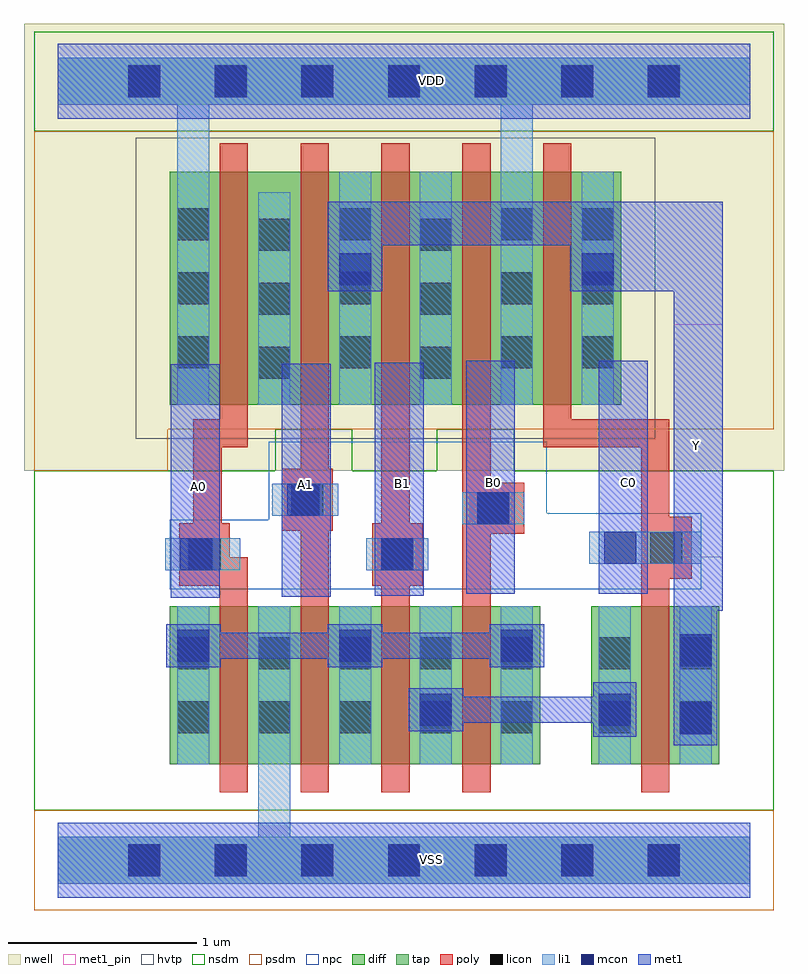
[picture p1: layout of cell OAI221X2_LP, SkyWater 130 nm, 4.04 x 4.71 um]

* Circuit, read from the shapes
.subckt OAI221X2_LP A0 A1 B0 B1 C0 VDD VSS Y
XM1 VSS A0 n1 VSS sky130_fd_pr__nfet_01v8 w=0.84 l=0.15
XM2 n1 A1 VSS VSS sky130_fd_pr__nfet_01v8 w=0.84 l=0.15
XM3 n2 B1 n1 VSS sky130_fd_pr__nfet_01v8 w=0.84 l=0.15
XM4 n1 B0 n2 VSS sky130_fd_pr__nfet_01v8 w=0.84 l=0.15
XM5 Y C0 n2 VSS sky130_fd_pr__nfet_01v8 w=0.84 l=0.15
XM6 n3 A0 VDD VDD sky130_fd_pr__pfet_01v8_hvt w=1.24 l=0.15
XM7 Y A1 n3 VDD sky130_fd_pr__pfet_01v8_hvt w=1.24 l=0.15
XM8 n4 B1 Y VDD sky130_fd_pr__pfet_01v8_hvt w=1.24 l=0.15
XM9 VDD B0 n4 VDD sky130_fd_pr__pfet_01v8_hvt w=1.24 l=0.15
XM10 Y C0 VDD VDD sky130_fd_pr__pfet_01v8_hvt w=1.24 l=0.15
.ends

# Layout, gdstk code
from math import pi, radians
import gdstk
lib = gdstk.Library(unit=1e-6, precision=1e-09)
def R(c, l, rs):  # rectangles x0, y0, x1, y1
    for r in rs: c.add(gdstk.rectangle(r[:2], r[2:], *l))
def A(c, l, x, y, w, h, nx, ny, dx, dy):  # array of equal rectangles
    R(c, l, [(x+i*dx, y+j*dy, x+i*dx+w, y+j*dy+h) for i in range(nx) for j in range(ny)])
def P(c, l, *ps):  # polygons
    for p in ps: c.add(gdstk.Polygon(p, *l))
nwell = (64, 20)
diff = (65, 20)
tap = (65, 44)
poly = (66, 20)
licon = (66, 44)
li1 = (67, 20)
mcon = (67, 44)
met1_pin = (68, 16)
met1 = (68, 20)
hvtp = (78, 44)
nsdm = (93, 44)
psdm = (94, 20)
npc = (95, 20)

l1m1_c_cdns_752016907001 = lib.new_cell('L1M1_C_CDNS_752016907001')
R(l1m1_c_cdns_752016907001, li1, [(-0.085,-0.165,0.085,0.165)])
R(l1m1_c_cdns_752016907001, mcon, [(-0.085,-0.085,0.085,0.085)])
R(l1m1_c_cdns_752016907001, met1, [(-0.115,-0.145,0.115,0.145)])

l1m1_c_cdns_752016907003 = lib.new_cell('L1M1_C_CDNS_752016907003')
R(l1m1_c_cdns_752016907003, li1, [(-0.165,-0.085,0.165,0.085)])
R(l1m1_c_cdns_752016907003, mcon, [(-0.085,-0.085,0.085,0.085)])
R(l1m1_c_cdns_752016907003, met1, [(-0.115,-0.145,0.115,0.145)])

licondiff_c_cdns_7520169 = lib.new_cell('LICONDIFF_C_CDNS_752016907004')
R(licondiff_c_cdns_7520169, diff, [(-0.125,-0.145,0.125,0.145)])
R(licondiff_c_cdns_7520169, licon, [(-0.085,-0.085,0.085,0.085), (-0.085,-0.085,0.085,0.085)])

pyl1con_c_cdns_752016907 = lib.new_cell('PYL1CON_C_CDNS_752016907000')
R(pyl1con_c_cdns_752016907, poly, [(-0.135,-0.165,0.135,0.165)])
R(pyl1con_c_cdns_752016907, licon, [(-0.085,-0.085,0.085,0.085)])
R(pyl1con_c_cdns_752016907, npc, [(-0.185,-0.185,0.185,0.185)])

l1m1_c_cdns_752016907002 = lib.new_cell('L1M1_C_CDNS_752016907002')
R(l1m1_c_cdns_752016907002, li1, [(-0.085,-0.345,0.085,0.345)])
R(l1m1_c_cdns_752016907002, mcon, [(-0.085,-0.265,0.085,-0.095), (-0.085,0.095,0.085,0.265)])
R(l1m1_c_cdns_752016907002, met1, [(-0.115,-0.325,0.115,0.325)])

oai221x2_lp = lib.new_cell('OAI221X2_LP')
R(oai221x2_lp, nwell, [(-0.18,2.07,3.86,4.445)])
R(oai221x2_lp, diff, [(0.595,0.51,2.565,1.35), (2.835,0.51,3.515,1.35), (0.595,2.42,2.995,3.66)])
A(oai221x2_lp, poly, 1.29, 0.36, 0.15, 3.45, 3, 1, 0.43, 0)
P(oai221x2_lp, poly, [(1.01,1.61),(0.87,1.61),(0.87,2.195),(1.01,2.195),(1.01,3.81),(0.86,3.81),(0.86,2.345),(0.72,2.345),(0.72,1.61),(0.7,1.61),(0.7,1.46),(0.86,1.46),(0.86,0.36),(1.01,0.36)],
  [(3.25,2.345),(2.73,2.345),(2.73,3.81),(2.58,3.81),(2.58,2.195),(3.1,2.195),(3.1,0.36),(3.25,0.36)])
A(oai221x2_lp, licon, 0.375, -0.085, 0.17, 0.17, 7, 2, 0.46, 4.14)
A(oai221x2_lp, licon, 0.635, 0.675, 0.17, 0.17, 5, 2, 0.43, 0.34)
A(oai221x2_lp, licon, 0.635, 2.615, 0.17, 0.17, 3, 3, 0.86, 0.34)
A(oai221x2_lp, licon, 2.785, 2.615, 0.17, 0.17, 1, 3, 0, 0.34)
R(oai221x2_lp, licon, [(2.875,0.675,3.045,0.845), (3.305,0.675,3.475,0.845), (2.875,1.015,3.045,1.185), (3.305,1.015,3.475,1.185)])
A(oai221x2_lp, li1, 1.495, 0.51, 0.17, 0.84, 3, 1, 0.43, 0)
R(oai221x2_lp, li1, [(0.635,0.51,0.805,1.35), (2.875,0.51,3.045,1.35), (3.305,0.51,3.475,1.35), (1.495,2.42,1.665,3.66), (2.785,2.42,2.955,3.66)])
P(oai221x2_lp, li1, [(3.68,4.265),(0,4.265),(0,4.015),(0.635,4.015),(0.635,2.42),(0.805,2.42),(0.805,4.015),(2.355,4.015),(2.355,2.42),(2.525,2.42),(2.525,4.015),(3.68,4.015)],
  [(3.68,0.125),(1.235,0.125),(1.235,1.35),(1.065,1.35),(1.065,0.125),(0,0.125),(0,-0.125),(3.68,-0.125)])
A(oai221x2_lp, mcon, 0.375, -0.085, 0.17, 0.17, 7, 2, 0.46, 4.14)
R(oai221x2_lp, met1_pin, [(0.6,1.395,0.86,2.635), (1.19,1.4,1.45,2.64), (1.685,1.405,1.945,2.645), (2.17,1.415,2.43,2.655), (2.875,1.415,3.135,2.655), (3.275,1.61,3.535,2.85)])
P(oai221x2_lp, met1, [(3.535,3.5),(1.435,3.5),(1.435,3.025),(1.725,3.025),(1.725,3.27),(2.725,3.27),(2.725,3.025),(3.275,3.025),(3.275,0.935),(3.505,0.935),(3.505,1.325),(3.535,1.325)])
R(oai221x2_lp, hvtp, [(0.415,2.24,3.175,3.84)])
R(oai221x2_lp, nsdm, [(-0.125,3.875,3.805,4.405)])
P(oai221x2_lp, nsdm, [(3.805,2.07),(2.425,2.07),(2.425,2.29),(2.015,2.29),(2.015,2.07),(1.565,2.07),(1.565,2.29),(1.155,2.29),(1.155,2.07),(-0.125,2.07),(-0.125,0.265),(3.805,0.265)])
R(oai221x2_lp, psdm, [(-0.125,-0.265,3.805,0.265)])
P(oai221x2_lp, psdm, [(3.805,3.875),(-0.125,3.875),(-0.125,2.07),(0.585,2.07),(0.585,2.29),(3.805,2.29)])
P(oai221x2_lp, npc, [(3.42,1.845),(2.6,1.845),(2.6,2.225),(1.12,2.225),(1.12,1.81),(0.595,1.81),(0.595,1.44),(3.42,1.44)])
oai221x2_lp.add(gdstk.FlexPath([(1.64,1.625),(1.885,1.625)], 0.17, ends=(0, 0.085), simple_path=True, layer=67, datatype=20))  # li1
oai221x2_lp.add(gdstk.FlexPath([(0.62,1.625),(0.885,1.625)], 0.17, ends=(0, 0.085), simple_path=True, layer=67, datatype=20))  # li1
oai221x2_lp.add(gdstk.FlexPath([(1.15,2.42),(1.15,3.55)], 0.17, ends="flush", simple_path=True, layer=67, datatype=20))  # li1
oai221x2_lp.add(gdstk.FlexPath([(2.01,2.42),(2.01,3.66)], 0.17, ends="flush", simple_path=True, layer=67, datatype=20))  # li1
oai221x2_lp.add(gdstk.FlexPath([(1.405,2),(1.405,1.915),(1.14,1.915)], 0.17, ends="flush", simple_path=True, layer=67, datatype=20))  # li1
oai221x2_lp.add(gdstk.FlexPath([(2.825,1.66),(3.42,1.66)], 0.17, ends="flush", simple_path=True, layer=67, datatype=20))  # li1
oai221x2_lp.add(gdstk.FlexPath([(0,0),(3.68,0)], 0.4, ends="flush", simple_path=True, layer=68, datatype=20))  # met1
oai221x2_lp.add(gdstk.FlexPath([(1.815,1.405),(1.815,2.645)], 0.26, ends="flush", simple_path=True, layer=68, datatype=20))  # met1
oai221x2_lp.add(gdstk.FlexPath([(2.3,1.415),(2.3,2.655)], 0.26, ends="flush", simple_path=True, layer=68, datatype=20))  # met1
oai221x2_lp.add(gdstk.FlexPath([(3.005,1.415),(3.005,2.655)], 0.26, ends="flush", simple_path=True, layer=68, datatype=20))  # met1
oai221x2_lp.add(gdstk.FlexPath([(1.32,1.4),(1.32,2.64)], 0.26, ends="flush", simple_path=True, layer=68, datatype=20))  # met1
oai221x2_lp.add(gdstk.FlexPath([(0.73,1.395),(0.73,2.635)], 0.26, ends="flush", simple_path=True, layer=68, datatype=20))  # met1
oai221x2_lp.add(gdstk.FlexPath([(2.01,0.8),(2.96,0.8)], 0.14, ends="flush", simple_path=True, layer=68, datatype=20))  # met1
oai221x2_lp.add(gdstk.FlexPath([(0.72,1.14),(2.44,1.14)], 0.14, ends="flush", simple_path=True, layer=68, datatype=20))  # met1
oai221x2_lp.add(gdstk.FlexPath([(0,4.14),(3.68,4.14)], 0.4, ends="flush", simple_path=True, layer=68, datatype=20))  # met1
oai221x2_lp.add(gdstk.FlexPath([(0,4.14),(3.68,4.14)], 0.4, ends="flush", simple_path=True, layer=68, datatype=16))  # met1_pin
oai221x2_lp.add(gdstk.FlexPath([(0,0),(3.68,0)], 0.4, ends="flush", simple_path=True, layer=68, datatype=16))  # met1_pin
oai221x2_lp.add(gdstk.FlexPath([(0,4.14),(3.68,4.14)], 0.25, ends="flush", simple_path=True, layer=65, datatype=44))  # tap
oai221x2_lp.add(gdstk.FlexPath([(0,0),(3.68,0)], 0.25, ends="flush", simple_path=True, layer=65, datatype=44))  # tap
oai221x2_lp.add(gdstk.Reference(l1m1_c_cdns_752016907001, (2.96,0.8), rotation=pi))
oai221x2_lp.add(gdstk.Reference(l1m1_c_cdns_752016907003, (1.58,3.14), rotation=pi/2))
oai221x2_lp.add(gdstk.Reference(l1m1_c_cdns_752016907003, (2.315,1.87), x_reflection=True))
oai221x2_lp.add(gdstk.Reference(l1m1_c_cdns_752016907003, (1.305,1.915), x_reflection=True))
oai221x2_lp.add(gdstk.Reference(l1m1_c_cdns_752016907003, (2.99,1.66), x_reflection=True))
oai221x2_lp.add(gdstk.Reference(l1m1_c_cdns_752016907003, (0.735,1.625), x_reflection=True))
oai221x2_lp.add(gdstk.Reference(l1m1_c_cdns_752016907003, (1.805,1.625), x_reflection=True))
oai221x2_lp.add(gdstk.Reference(l1m1_c_cdns_752016907003, (2.01,0.8), rotation=pi/2))
oai221x2_lp.add(gdstk.Reference(l1m1_c_cdns_752016907003, (2.44,1.14), rotation=pi/2))
oai221x2_lp.add(gdstk.Reference(l1m1_c_cdns_752016907003, (1.58,1.14), rotation=pi/2))
oai221x2_lp.add(gdstk.Reference(l1m1_c_cdns_752016907003, (0.72,1.14), rotation=pi/2))
oai221x2_lp.add(gdstk.Reference(l1m1_c_cdns_752016907003, (2.87,3.14), rotation=pi/2))
oai221x2_lp.add(gdstk.Reference(licondiff_c_cdns_7520169, (1.15,2.645)))
oai221x2_lp.add(gdstk.Reference(licondiff_c_cdns_7520169, (1.15,2.985)))
oai221x2_lp.add(gdstk.Reference(licondiff_c_cdns_7520169, (1.15,3.325)))
oai221x2_lp.add(gdstk.Reference(licondiff_c_cdns_7520169, (2.01,2.645)))
oai221x2_lp.add(gdstk.Reference(licondiff_c_cdns_7520169, (2.01,2.985)))
oai221x2_lp.add(gdstk.Reference(licondiff_c_cdns_7520169, (2.01,3.325)))
oai221x2_lp.add(gdstk.Reference(pyl1con_c_cdns_752016907, (2.315,1.87), rotation=3*pi/2, x_reflection=True))
oai221x2_lp.add(gdstk.Reference(pyl1con_c_cdns_752016907, (0.78,1.625), x_reflection=True))
oai221x2_lp.add(gdstk.Reference(pyl1con_c_cdns_752016907, (1.805,1.625), x_reflection=True))
oai221x2_lp.add(gdstk.Reference(pyl1con_c_cdns_752016907, (3.235,1.66), x_reflection=True))
oai221x2_lp.add(gdstk.Reference(pyl1con_c_cdns_752016907, (1.325,1.915), x_reflection=True))
oai221x2_lp.add(gdstk.Reference(l1m1_c_cdns_752016907002, (3.39,0.935)))
oai221x2_lp.add(gdstk.Label('VDD', (1.985,4.145), layer=68, texttype=5))
oai221x2_lp.add(gdstk.Label('Y', (3.395,2.205), layer=68, texttype=5))
oai221x2_lp.add(gdstk.Label('C0', (3.035,2.01), layer=68, texttype=5))
oai221x2_lp.add(gdstk.Label('B0', (2.315,2.01), layer=68, texttype=5))
oai221x2_lp.add(gdstk.Label('B1', (1.83,2), layer=68, texttype=5))
oai221x2_lp.add(gdstk.Label('A1', (1.315,1.995), layer=68, texttype=5))
oai221x2_lp.add(gdstk.Label('A0', (0.745,1.985), layer=68, texttype=5))
oai221x2_lp.add(gdstk.Label('VSS', (1.985,0.005), layer=68, texttype=5))

lib.write_gds('OAI221X2_LP.gds')
